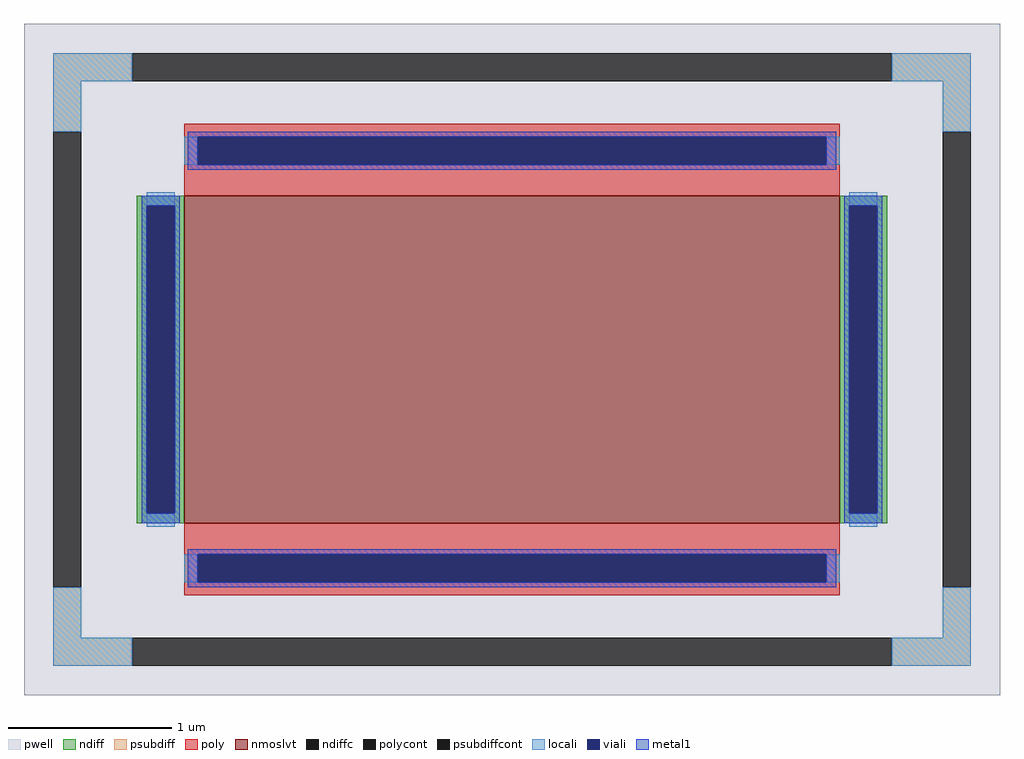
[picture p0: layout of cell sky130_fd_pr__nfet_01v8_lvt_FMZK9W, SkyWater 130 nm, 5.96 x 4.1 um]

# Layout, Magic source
magic
tech sky130A
<< pwell >>
rect -298 -205 298 205
<< nmoslvt >>
rect -200 -100 200 100
<< ndiff >>
rect -229 94 -200 100
rect -229 -94 -223 94
rect -206 -94 -200 94
rect -229 -100 -200 -94
rect 200 94 229 100
rect 200 -94 206 94
rect 223 -94 229 94
rect 200 -100 229 -94
<< ndiffc >>
rect -223 -94 -206 94
rect 206 -94 223 94
<< psubdiff >>
rect -280 170 -232 187
rect 232 170 280 187
rect -280 139 -263 170
rect 263 139 280 170
rect -280 -170 -263 -139
rect 263 -170 280 -139
rect -280 -187 -232 -170
rect 232 -187 280 -170
<< psubdiffcont >>
rect -232 170 232 187
rect -280 -139 -263 139
rect 263 -139 280 139
rect -232 -187 232 -170
<< poly >>
rect -200 136 200 144
rect -200 119 -192 136
rect 192 119 200 136
rect -200 100 200 119
rect -200 -119 200 -100
rect -200 -136 -192 -119
rect 192 -136 200 -119
rect -200 -144 200 -136
<< polycont >>
rect -192 119 192 136
rect -192 -136 192 -119
<< locali >>
rect -280 170 -232 187
rect 232 170 280 187
rect -280 139 -263 170
rect 263 139 280 170
rect -200 119 -192 136
rect 192 119 200 136
rect -223 94 -206 102
rect -223 -102 -206 -94
rect 206 94 223 102
rect 206 -102 223 -94
rect -200 -136 -192 -119
rect 192 -136 200 -119
rect -280 -170 -263 -139
rect 263 -170 280 -139
rect -280 -187 -232 -170
rect 232 -187 280 -170
<< viali >>
rect -192 119 192 136
rect -223 -94 -206 94
rect 206 -94 223 94
rect -192 -136 192 -119
<< metal1 >>
rect -198 136 198 139
rect -198 119 -192 136
rect 192 119 198 136
rect -198 116 198 119
rect -226 94 -203 100
rect -226 -94 -223 94
rect -206 -94 -203 94
rect -226 -100 -203 -94
rect 203 94 226 100
rect 203 -94 206 94
rect 223 -94 226 94
rect 203 -100 226 -94
rect -198 -119 198 -116
rect -198 -136 -192 -119
rect 192 -136 198 -119
rect -198 -139 198 -136
<< properties >>
string FIXED_BBOX -271 -178 271 178
string gencell sky130_fd_pr__nfet_01v8_lvt
string library sky130
string parameters w 2.0 l 4.0 m 1 nf 1 diffcov 100 polycov 100 guard 1 glc 1 grc 1 gtc 1 gbc 1 tbcov 100 rlcov 100 topc 1 botc 1 poverlap 0 doverlap 1 lmin 0.15 wmin 0.42 compatible {sky130_fd_pr__nfet_01v8 sky130_fd_pr__nfet_01v8_lvt  sky130_fd_bs_flash__special_sonosfet_star  sky130_fd_pr__nfet_g5v0d10v5 sky130_fd_pr__nfet_05v0_nvt  sky130_fd_pr__nfet_03v3_nvt} full_metal 1 viasrc 100 viadrn 100 viagate 100 viagb 0 viagr 0 viagl 0 viagt 0
<< end >>
